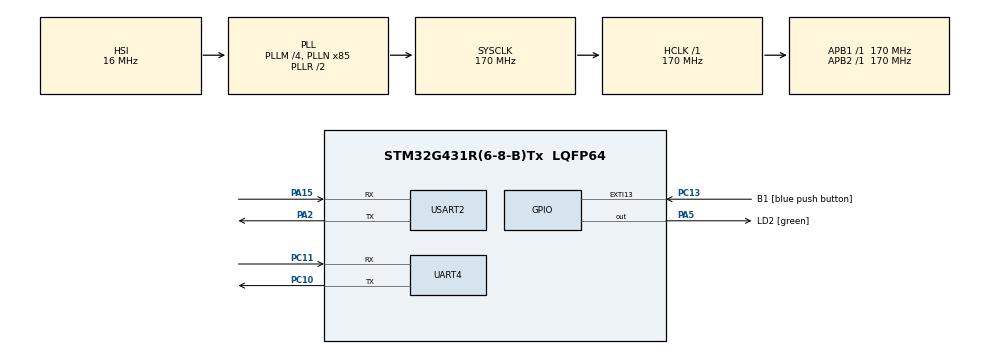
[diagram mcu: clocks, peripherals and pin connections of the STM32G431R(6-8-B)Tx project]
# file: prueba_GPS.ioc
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Mcu.Family=STM32G4
Mcu.Name=STM32G431R(6-8-B)Tx
Mcu.Package=LQFP64
NVIC.PriorityGroup=NVIC_PRIORITYGROUP_4
PA13.GPIO_Label=T_SWDIO
PA13.Mode=Serial_Wire
PA13.Signal=SYS_JTMS-SWDIO
PA14.GPIO_Label=T_SWCLK
PA14.Mode=Serial_Wire
PA14.Signal=SYS_JTCK-SWCLK
PA15.Mode=Asynchronous
PA15.Signal=USART2_RX
PA2.Mode=Asynchronous
PA2.Signal=USART2_TX
PA3.GPIO_Label=LPUART1_RX [STLINKV3E_VCP_TX]
PA3.Signal=LPUART1_RX
PA5.GPIO_Label=LD2 [green]
PA5.Signal=GPIO_Output
PB3.GPIO_Label=T_SWO
PB3.Signal=SYS_JTDO-SWO
PC10.Mode=Asynchronous
PC10.Signal=UART4_TX
PC11.Mode=Asynchronous
PC11.Signal=UART4_RX
PC13.GPIO_Label=B1 [blue push button]
PC13.Signal=GPXTI13
PC14-OSC32_IN.Mode=LSE-External-Oscillator
PC14-OSC32_IN.Signal=RCC_OSC32_IN
PC15-OSC32_OUT.Mode=LSE-External-Oscillator
PC15-OSC32_OUT.Signal=RCC_OSC32_OUT
PF0-OSC_IN.Mode=HSE-External-Oscillator
PF0-OSC_IN.Signal=RCC_OSC_IN
PF1-OSC_OUT.Mode=HSE-External-Oscillator
PF1-OSC_OUT.Signal=RCC_OSC_OUT
ProjectManager.HeapSize=0x200
ProjectManager.StackSize=0x400
ProjectManager.TargetToolchain=STM32CubeIDE
RCC.ADC12Freq_Value=170000000
RCC.AHBFreq_Value=170000000
RCC.APB1Freq_Value=170000000
RCC.APB1TimFreq_Value=170000000
RCC.APB2Freq_Value=170000000
RCC.APB2TimFreq_Value=170000000
RCC.CortexFreq_Value=170000000
RCC.EXTERNAL_CLOCK_VALUE=12288000
RCC.HCLKFreq_Value=170000000
RCC.HSE_VALUE=24000000
RCC.HSI48_VALUE=48000000
RCC.HSI_VALUE=16000000
RCC.PLLM=RCC_PLLM_DIV4
RCC.PLLN=85
RCC.RTCClockSelection=RCC_RTCCLKSOURCE_LSE
RCC.SYSCLKFreq_VALUE=170000000
RCC.SYSCLKSource=RCC_SYSCLKSOURCE_PLLCLK
RCC.USBFreq_Value=170000000
RCC.VCOOutputFreq_Value=340000000
USART2.VirtualMode-Asynchronous=VM_ASYNC
VP_SYS_VS_DBSignals.Mode=DisableDeadBatterySignals
board=NUCLEO-G431RB

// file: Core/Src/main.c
#include "main.h"

/* USER CODE BEGIN Includes */
#include <string.h>
#include <stdio.h>
#include <stdlib.h>
/* USER CODE END Includes */

/* USER CODE BEGIN PTD */
/*
typedef struct {
    char time[11];          // Time (hhmmss.sss)
    char latitude[11];      // Latitude (ddmm.mmmm)
    char lat_dir;           // Latitude direction (N/S)
    char longitude[12];     // Longitude (dddmm.mmmm)
    char lon_dir;           // Longitude direction (E/W)
    char quality;           // Fix quality
    int num_satellites;     // Number of satellites
    char hdop[6];           // Horizontal dilution of precision
    char altitude[8];       // Altitude
    char altitude_units;    // Altitude units (M)
    char geoid_separation[8]; // Geoid separation
    char geoid_separation_units; // Geoid separation units (M)
} GPGGA_Data;

typedef struct {
    char time[11];          // Time (hhmmss.sss)
    char status;            // Status (A=active, V=void)
    char latitude[11];      // Latitude (ddmm.mmmm)
    char lat_dir;           // Latitude direction (N/S)
    char longitude[12];     // Longitude (dddmm.mmmm)
    char lon_dir;           // Longitude direction (E/W)
    char speed[6];          // Speed over ground in knots
    char course[6];         // Course over ground in degrees
} GPRMC_Data;

typedef struct {
    char mode;              // Mode (A=automatic, M=manual)
    char fix_type;          // Fix type (1=GPS, 2=DGPS, etc.)
    char pdop[5];           // Position dilution of precision
    char hdop[5];           // Horizontal dilution of precision
    char vdop[5];			// Vertical dilution of precision
} GPGSA_Data;
*/

/* USER CODE END PTD */

/* USER CODE BEGIN PD */
#include "gps_parsing.h"
/* USER CODE END PD */

UART_HandleTypeDef huart4;
UART_HandleTypeDef huart2;

/* USER CODE BEGIN PV */
char uart_msg[100];
char uart_gps[100];
uint8_t pulsador_ant = 1, pulsador_act = 1;

void print(char uart_buffer[]);
/* USER CODE END PV */

void SystemClock_Config(void);
static void MX_GPIO_Init(void);
static void MX_USART2_UART_Init(void);
static void MX_UART4_Init(void);

/* USER CODE BEGIN 0 */
void print(char uart_buffer[]);

/* USER CODE END 0 */

int main(void)
{

  /* MCU Configuration--------------------------------------------------------*/

  /* Reset of all peripherals, Initializes the Flash interface and the Systick. */
  HAL_Init();

  /* Configure the system clock */
  SystemClock_Config();

  /* Initialize all configured peripherals */

  /* USER CODE BEGIN 2 */
  print("Initialization complete");
  /* USER CODE END 2 */

  /* Infinite loop */
  while (1)
  {

    /* USER CODE BEGIN 3 */
	MX_GPIO_Init();
	MX_USART2_UART_Init();
	MX_UART4_Init();
    memset(uart_gps, 0, sizeof(uart_gps));  // Limpiar buffer antes de recibir datos
    HAL_StatusTypeDef result = HAL_UART_Receive(&huart4, (uint8_t*) uart_gps, sizeof(uart_gps) - 1, 1000);  // Intentar recibir datos

	if (result == HAL_OK) {
		uart_gps[sizeof(uart_gps) - 1] = '\0';  // Asegurar terminación nula
		print("Data received:");
		GPGGA_Data data;
		process_gps_data(uart_gps, &data);
		// ahora en data tienes los datos de GPGGA, que son los importantes
		// cuando el gps devuelve el string gpgga sin apenas datos aparecen resultados sin sentido en data
		//print(uart_gps);  // Opcional: Imprimir todos los datos recibidos
	} else {
		print("No data received or error occurred");
	}
	// Reiniciar la recepción
	//HAL_UART_Receive_IT(&huart4, (uint8_t*)uart_gps, sizeof(uart_gps) - 1);

    HAL_Delay(2000);  // Esperar 1 segundo antes de la siguiente iteración
  }
  /* USER CODE END 3 */
}

void SystemClock_Config(void)
{
  RCC_OscInitTypeDef RCC_OscInitStruct = {0};
  RCC_ClkInitTypeDef RCC_ClkInitStruct = {0};

  /** Configure the main internal regulator output voltage
  */
  HAL_PWREx_ControlVoltageScaling(PWR_REGULATOR_VOLTAGE_SCALE1_BOOST);

  /** Initializes the RCC Oscillators according to the specified parameters
  * in the RCC_OscInitTypeDef structure.
  */
  RCC_OscInitStruct.OscillatorType = RCC_OSCILLATORTYPE_HSI;
  RCC_OscInitStruct.HSIState = RCC_HSI_ON;
  RCC_OscInitStruct.HSICalibrationValue = RCC_HSICALIBRATION_DEFAULT;
  RCC_OscInitStruct.PLL.PLLState = RCC_PLL_ON;
  RCC_OscInitStruct.PLL.PLLSource = RCC_PLLSOURCE_HSI;
  RCC_OscInitStruct.PLL.PLLM = RCC_PLLM_DIV4;
  RCC_OscInitStruct.PLL.PLLN = 85;
  RCC_OscInitStruct.PLL.PLLP = RCC_PLLP_DIV2;
  RCC_OscInitStruct.PLL.PLLQ = RCC_PLLQ_DIV2;
  RCC_OscInitStruct.PLL.PLLR = RCC_PLLR_DIV2;
  if (HAL_RCC_OscConfig(&RCC_OscInitStruct) != HAL_OK)
  {
    Error_Handler();
  }

  /** Initializes the CPU, AHB and APB buses clocks
  */
  RCC_ClkInitStruct.ClockType = RCC_CLOCKTYPE_HCLK|RCC_CLOCKTYPE_SYSCLK
                              |RCC_CLOCKTYPE_PCLK1|RCC_CLOCKTYPE_PCLK2;
  RCC_ClkInitStruct.SYSCLKSource = RCC_SYSCLKSOURCE_PLLCLK;
  RCC_ClkInitStruct.AHBCLKDivider = RCC_SYSCLK_DIV1;
  RCC_ClkInitStruct.APB1CLKDivider = RCC_HCLK_DIV1;
  RCC_ClkInitStruct.APB2CLKDivider = RCC_HCLK_DIV1;

  if (HAL_RCC_ClockConfig(&RCC_ClkInitStruct, FLASH_LATENCY_4) != HAL_OK)
  {
    Error_Handler();
  }
}

static void MX_UART4_Init(void)
{

  huart4.Instance = UART4;
  huart4.Init.BaudRate = 9600;
  huart4.Init.WordLength = UART_WORDLENGTH_8B;
  huart4.Init.StopBits = UART_STOPBITS_1;
  huart4.Init.Parity = UART_PARITY_NONE;
  huart4.Init.Mode = UART_MODE_TX_RX;
  huart4.Init.HwFlowCtl = UART_HWCONTROL_NONE;
  huart4.Init.OverSampling = UART_OVERSAMPLING_16;
  huart4.Init.OneBitSampling = UART_ONE_BIT_SAMPLE_DISABLE;
  huart4.Init.ClockPrescaler = UART_PRESCALER_DIV1;
  huart4.AdvancedInit.AdvFeatureInit = UART_ADVFEATURE_NO_INIT;
  if (HAL_UART_Init(&huart4) != HAL_OK)
  {
    Error_Handler();
  }
  if (HAL_UARTEx_SetTxFifoThreshold(&huart4, UART_TXFIFO_THRESHOLD_1_8) != HAL_OK)
  {
    Error_Handler();
  }
  if (HAL_UARTEx_SetRxFifoThreshold(&huart4, UART_RXFIFO_THRESHOLD_1_8) != HAL_OK)
  {
    Error_Handler();
  }
  if (HAL_UARTEx_DisableFifoMode(&huart4) != HAL_OK)
  {
    Error_Handler();
  }

}

static void MX_USART2_UART_Init(void)
{

  huart2.Instance = USART2;
  huart2.Init.BaudRate = 9600;
  huart2.Init.WordLength = UART_WORDLENGTH_8B;
  huart2.Init.StopBits = UART_STOPBITS_1;
  huart2.Init.Parity = UART_PARITY_NONE;
  huart2.Init.Mode = UART_MODE_TX_RX;
  huart2.Init.HwFlowCtl = UART_HWCONTROL_NONE;
  huart2.Init.OverSampling = UART_OVERSAMPLING_16;
  huart2.Init.OneBitSampling = UART_ONE_BIT_SAMPLE_DISABLE;
  huart2.Init.ClockPrescaler = UART_PRESCALER_DIV1;
  huart2.AdvancedInit.AdvFeatureInit = UART_ADVFEATURE_NO_INIT;
  if (HAL_UART_Init(&huart2) != HAL_OK)
  {
    Error_Handler();
  }
  if (HAL_UARTEx_SetTxFifoThreshold(&huart2, UART_TXFIFO_THRESHOLD_1_8) != HAL_OK)
  {
    Error_Handler();
  }
  if (HAL_UARTEx_SetRxFifoThreshold(&huart2, UART_RXFIFO_THRESHOLD_1_8) != HAL_OK)
  {
    Error_Handler();
  }
  if (HAL_UARTEx_DisableFifoMode(&huart2) != HAL_OK)
  {
    Error_Handler();
  }

}

static void MX_GPIO_Init(void)
{
  GPIO_InitTypeDef GPIO_InitStruct = {0};

  /* GPIO Ports Clock Enable */
  __HAL_RCC_GPIOC_CLK_ENABLE();
  __HAL_RCC_GPIOF_CLK_ENABLE();
  __HAL_RCC_GPIOA_CLK_ENABLE();
  __HAL_RCC_GPIOB_CLK_ENABLE();

  /*Configure GPIO pin Output Level */
  HAL_GPIO_WritePin(LD2_GPIO_Port, LD2_Pin, GPIO_PIN_RESET);

  /*Configure GPIO pin : B1_Pin */
  GPIO_InitStruct.Pin = B1_Pin;
  GPIO_InitStruct.Mode = GPIO_MODE_IT_RISING;
  GPIO_InitStruct.Pull = GPIO_NOPULL;
  HAL_GPIO_Init(B1_GPIO_Port, &GPIO_InitStruct);

  /*Configure GPIO pin : LPUART1_RX_Pin */
  GPIO_InitStruct.Pin = LPUART1_RX_Pin;
  GPIO_InitStruct.Mode = GPIO_MODE_AF_PP;
  GPIO_InitStruct.Pull = GPIO_NOPULL;
  GPIO_InitStruct.Speed = GPIO_SPEED_FREQ_LOW;
  GPIO_InitStruct.Alternate = GPIO_AF12_LPUART1;
  HAL_GPIO_Init(LPUART1_RX_GPIO_Port, &GPIO_InitStruct);

  /*Configure GPIO pin : LD2_Pin */
  GPIO_InitStruct.Pin = LD2_Pin;
  GPIO_InitStruct.Mode = GPIO_MODE_OUTPUT_PP;
  GPIO_InitStruct.Pull = GPIO_NOPULL;
  GPIO_InitStruct.Speed = GPIO_SPEED_FREQ_LOW;
  HAL_GPIO_Init(LD2_GPIO_Port, &GPIO_InitStruct);

}

/* USER CODE BEGIN 4 */
void print(char uart_buffer[]){
	sprintf(uart_msg, "%s\r\n", uart_buffer);
	HAL_UART_Transmit(&huart2, (uint8_t*) uart_msg, strlen(uart_msg), HAL_MAX_DELAY);
}
/* USER CODE END 4 */

void Error_Handler(void)
{
  __disable_irq();
  while (1)
  {
  }
}
